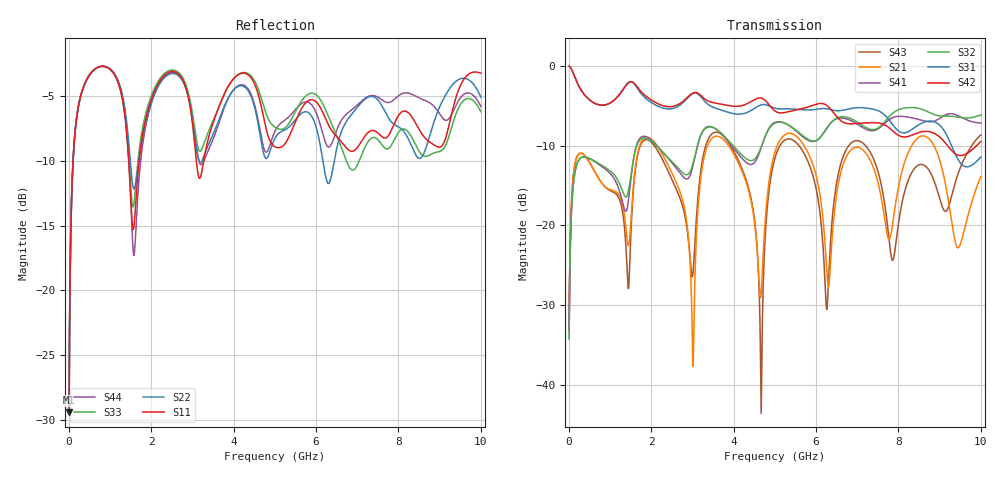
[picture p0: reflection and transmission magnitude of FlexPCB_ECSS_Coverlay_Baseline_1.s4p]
! TOUCHSTONE file generated by CST MICROWAVE STUDIO
! Date and time: Sun Jul  5 19:09:30 2026
! Project name: FlexPCB_ECSS_Coverlay_Baseline.cst
! Parameters = {Gap=0.4; GroundW=3.8; Hadh=0.025; Hcov=0.025; Hsub=0.1; L=50; Tcu=0.035; W=0.14}
! Header version: 2024
! Port assignment regex: !\s*Touchstone port\s*([0-9]+)\s*=\s*(CST MWS port|CST DES external port|CST DES block port)\s*(.+)\s* \(\"(.*)\"\)(\s*mode\s*([0-9]+))?.*
! Touchstone port assignment:
! Touchstone port 1 = CST MWS port 1 ("")
! Touchstone port 2 = CST MWS port 2 ("")
! Touchstone port 3 = CST MWS port 3 ("")
! Touchstone port 4 = CST MWS port 4 ("")
# GHz S MA R 50
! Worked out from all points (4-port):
!   1002 points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, 10 MHz to 10 GHz, reference 50 ohm
!   strongest paths, dB at 10 MHz, 2.51 GHz, 5.01 GHz, 7.503 GHz, 10 GHz:
!     S42: 0.0, -5.1, -5.7, -7.1, -9.5
!     S31: 0.0, -5.3, -5.3, -5.6, -11.4
!     S32: -34.2, -12.0, -7.2, -7.8, -6.1
!     S41: -34.2, -12.2, -7.1, -7.9, -7.2
!     S21: -33.0, -13.5, -10.7, -14.6, -13.9
!     S43: -33.0, -14.3, -11.4, -13.2, -8.7
!   lowest |S11| = -29.4 dB at 10 MHz (marker M1), VSWR 1.07, Z = 49.8 - j3.38 ohm
!   |S11| at or under -10 dB: start of sweep to 105.7 MHz; 1.455 GHz to 1.709 GHz (254.6 MHz wide, 16.1 % of centre); 3.096 GHz to 3.277 GHz (180.5 MHz wide, 5.66 % of centre)
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0.01  0.03386 -91.0  0.02239 85.5  0.9976 -2.5  0.01944 85.6
      0.02239 85.5  0.03361 -91.0  0.01944 85.6  0.9976 -2.5
      0.9976 -2.5  0.01944 85.6  0.03386 -91.0  0.02239 85.5
      0.01944 85.6  0.9976 -2.5  0.02239 85.5  0.0336 -91.0
0.47  0.664 -160.2  0.2565 -8.8  0.6232 -62.6  0.2644 -38.2
      0.2565 -8.8  0.662 -159.4  0.2657 -37.7  0.6256 -62.5
      0.6232 -62.6  0.2657 -37.7  0.6634 -159.8  0.2566 -9.3
      0.2644 -38.2  0.6256 -62.5  0.2566 -9.3  0.6613 -160.4
1.56  0.1717 167.8  0.1664 52.5  0.7866 -174.3  0.2483 -103.4
      0.1664 52.5  0.2506 163.3  0.2492 -112.8  0.7896 -172.2
      0.7866 -174.3  0.2492 -112.8  0.2096 172.6  0.1557 66.5
      0.2483 -103.4  0.7896 -172.2  0.1557 66.5  0.1448 153.6
3.15  0.275 162.3  0.1418 79.7  0.6628 15.3  0.3343 86.3
      0.1418 79.7  0.3193 158.8  0.3335 80.1  0.6711 17.0
      0.6628 15.3  0.3335 80.1  0.3497 162.3  0.1648 59.3
      0.3343 86.3  0.6711 17.0  0.1648 59.3  0.3206 156.9
4.79  0.4199 150.1  0.1272 88.0  0.5703 -154.3  0.3752 -86.2
      0.1272 88.0  0.3224 166.4  0.3721 -94.0  0.6005 -164.7
      0.5703 -154.3  0.3721 -94.0  0.4799 152.3  0.1054 73.4
      0.3752 -86.2  0.6005 -164.7  0.1054 73.4  0.3408 169.1
6.34  0.4229 160.7  0.05187 118.0  0.5335 36.2  0.434 100.9
      0.05187 118.0  0.2637 -174.3  0.4324 94.9  0.5419 22.2
      0.5335 36.2  0.4324 94.9  0.4535 147.1  0.07022 38.2
      0.434 100.9  0.5419 22.2  0.07022 38.2  0.3592 177.5
10  0.6867 -179.7  0.2022 8.3  0.2686 12.1  0.4389 52.5
    0.2022 8.3  0.5548 159.6  0.4927 45.8  0.3364 9.8
    0.2686 12.1  0.4927 45.8  0.4878 169.7  0.3692 28.0
    0.4389 52.5  0.3364 9.8  0.3692 28.0  0.5111 143.7
